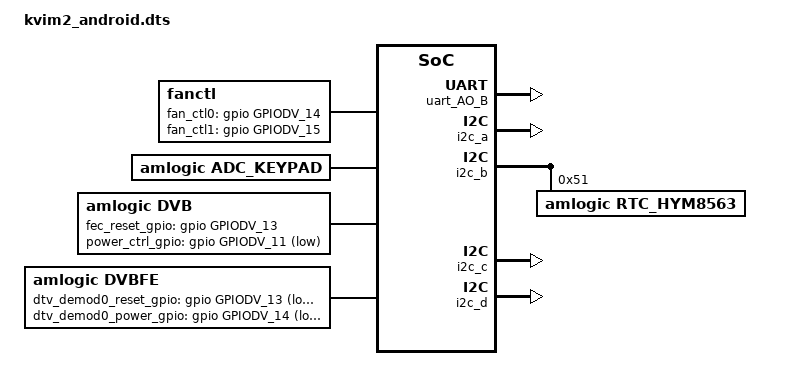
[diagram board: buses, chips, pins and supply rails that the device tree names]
#include "gxm_q200_2g.dts"
#include "partitions-android.dtsi"

/{
	le-dt-id = "gxm_kvim2";
	compatible = "amlogic, Gxm";
	amlogic-dt-id = "kvim";

	memory@00000000 {
		/delete-property/ linux,usable-memory;
		linux,usable-memory-2g = <0x0 0x00100000 0x0 0x7ff00000>;
		linux,usable-memory-3g = <0x0 0x00100000 0x0 0xbff00000>;
	};

	sysled {
		led_gpio = <&gpio_ao GPIOAO_9 GPIO_ACTIVE_HIGH>;
	};

	fan {
		compatible = "fanctl";
		fan_ctl0 = <&gpio GPIODV_14 GPIO_ACTIVE_HIGH>;
		fan_ctl1 = <&gpio GPIODV_15 GPIO_ACTIVE_HIGH>;
		trig_temp_level0 = <50>;
		trig_temp_level1 = <60>;
		trig_temp_level2 = <70>;
	};

	meson-fb {
		/delete-property/ logo_addr;
		logo_addr_2g = "0x7d851000";
		logo_addr_3g = "0xbd851000"; /*ion base + fb0 memory size for uboot logo osd1*/
	};

	uart_AO_B: serial@c81004e0 {
		status = "okay";
	};
	
	dwc2_a {
		controller-type = <2>; /** 0: normal, 1: otg+dwc3 host only, 2: otg+dwc3 device only*/
	};
	adc_keypad{
		compatible = "amlogic, adc_keypad";
		status = "okay";
		key_name = "home";
		key_num = <1>;
		key_code = <102>;
		key_chan = <0>;
		key_val = <10>;
		key_tolerance = <40>;
	};

	dvb {
		compatible = "amlogic,dvb";
		dev_name = "dvb";
		ts0 = "parallel";
		ts0_control = <0x0>;
		ts0_invert = <0x0>;
		fec_reset_gpio-gpios = <&gpio GPIODV_13 GPIO_ACTIVE_HIGH>;
		power_ctrl_gpio-gpios = <&gpio GPIODV_11 GPIO_ACTIVE_LOW>;
		pinctrl-names = "p_ts0", "s_ts0", "s_ts1";
		pinctrl-0 = <&dvb_p_ts0_pins>;
		pinctrl-1 = <&dvb_s_ts0_pins>;
		pinctrl-2 = <&dvb_s_ts1_pins>;
		resets = <&clock GCLK_IDX_DEMUX &clock GCLK_IDX_ASYNC_FIFO &clock GCLK_IDX_AHB_ARB0 &clock GCLK_IDX_HIU_PARSER_TOP>;
		reset-names = "demux", "asyncfifo", "ahbarb0", "uparsertop";
	};

	dvbfe {
		compatible = "amlogic,dvbfe";
		//dev_name = "dvbfe";
		status = "okay";
		dtv_demod0 = "Avl6211";
		dtv_demod0_i2c_adap_id = <2>;
		dtv_demod0_i2c_addr = <0x60>;
 		dtv_demod0_reset_value = <0>;
		dtv_demod0_reset_gpio-gpios = <&gpio GPIODV_13 GPIO_ACTIVE_LOW>;
		dtv_demod0_power_gpio-gpios = <&gpio GPIODV_14 GPIO_ACTIVE_LOW>;
		fe0_dtv_demod = <0>;
		fe0_ts = <0>;
		fe0_dev = <0>;
	};
};

&i2c_a {
	status = "okay";
};

&i2c_b {
	status = "okay";
	rtc_hym8563{
			compatible = "amlogic, rtc_hym8563";
			dev_name = "rtc_hym8563";
			status = "okay";
		reg = <0x51>;
	};
};

&i2c_c {
	status = "okay";
};

&i2c_d {
	status = "okay";
};

&pinmux {
	dvb_p_ts0_pins:dvb_p_ts0_pins {
		amlogic,setmask = <0x2 0x1f>;
		amlogic,clrmask = <0x3 0x787 0x2 0xff000400>;
		amlogic,pins = "GPIODV_0", "GPIODV_1", "GPIODV_2", "GPIODV_3", "GPIODV_4", "GPIODV_5", "GPIODV_6", "GPIODV_7", "GPIODV_8", "GPIODV_9", "GPIODV_10";
	};

	dvb_s_ts0_pins:dvb_s_ts0_pins {
		amlogic,setmask = <0x2 0x17>;
		amlogic,clrmask = <0x3 0x584 0x2 0x7000000 0x1 0x100>;
		amlogic,pins = "GPIODV_0", "GPIODV_8", "GPIODV_9", "GPIODV_10";
	};

	dvb_s_ts1_pins:dvb_s_ts1_pins {
		amlogic,setmask = <0x3 0x17>;
		amlogic,clrmask = <0x2 0xf0000 0x1 0x7>;
		amlogic,pins = "GPIODV_0", "GPIODV_8", "GPIODV_9", "GPIODV_10";
	};

	dtv_params_pin:dtv_params_pin {
		amlogic,clrmask = <0x1 0x38000000 0x3 0x80>;
		amlogic,pins = "GPIODV_13", "GPIODV_14", "GPIODV_15";
	};
};
